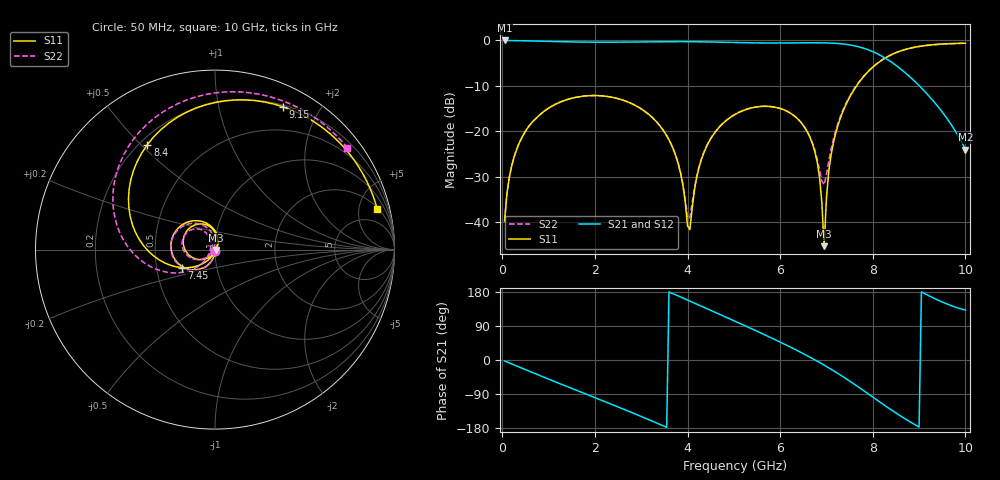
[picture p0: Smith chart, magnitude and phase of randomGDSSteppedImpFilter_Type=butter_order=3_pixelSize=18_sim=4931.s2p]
! freq	dB(S11)	phase(S11)	dB(S12)	phase(S12)
!  dB(S21)	phase(S21)	dB(S22)	phase(S22)
!S-par simulation data
#  GHz  S  DB  R 50
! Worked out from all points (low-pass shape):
!   200 points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, 50 MHz to 10 GHz, reference 50 ohm
!   highest |S21| = 0.00 dB at 50 MHz (marker M1); lowest = -24.0 dB at 10 GHz (marker M2)
!   |S21| within 3 dB of the highest: start of sweep to 8.112 GHz
!   lowest |S11| = -45.3 dB at 6.95 GHz (marker M3), VSWR 1.01, Z = 50.5 - j0.259 ohm
!   |S11| at or under -10 dB: start of sweep to 7.65 GHz
!   |S22| runs from -39.7 to -0.6 dB; largest |S21 - S12| = 0
!   S11 on the Smith chart (normalised r, x): 50 MHz: 1.00, -0.02; 7.45 GHz: 0.67, -0.14; 8.4 GHz: 0.23, +0.52; 9.15 GHz: 0.22, +1.56; 10 GHz: 2.22, +7.56
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0.05  -39.74 -92.4  -0.00 -2.6  -0.00 -2.6  -39.74 -92.3
0.2  -27.74 -100.5  -0.03 -10.3  -0.03 -10.3  -27.74 -100.2
0.5  -20.00 -116.4  -0.08 -25.5  -0.08 -25.5  -20.00 -115.5
1.75  -12.26 -179.6  -0.37 -87.2  -0.37 -87.2  -12.26 -176.3
2.55  -12.96 140.1  -0.37 -126.4  -0.37 -126.4  -12.97 145.9
3.4  -18.75 94.1  -0.27 -169.8  -0.27 -169.8  -18.76 106.1
3.8  -27.15 67.1  -0.25 169.0  -0.25 169.0  -27.12 93.3
4.05  -41.63 -51.6  -0.27 155.5  -0.27 155.5  -39.20 177.7
4.35  -24.79 -128.7  -0.31 139.3  -0.31 139.3  -24.65 -136.9
5.05  -16.15 -172.5  -0.46 100.9  -0.46 100.9  -16.11 -167.4
5.85  -14.63 139.5  -0.56 56.1  -0.56 56.1  -14.63 152.1
6.7  -22.81 81.2  -0.51 3.7  -0.51 3.7  -22.65 115.4
6.85  -30.04 64.9  -0.51 -6.5  -0.51 -6.5  -28.47 128.3
6.95  -45.29 -28.1  -0.53 -13.5  -0.53 -13.5  -31.76 177.9
7  -34.63 -99.8  -0.54 -17.1  -0.54 -17.1  -29.55 -155.0
7.1  -25.20 -119.0  -0.58 -24.4  -0.58 -24.4  -23.91 -135.1
7.45  -13.50 -151.7  -0.90 -51.4  -0.90 -51.4  -13.29 -144.4
7.85  -7.40 172.3  -1.87 -84.9  -1.87 -84.9  -7.33 -173.6
8.35  -3.40 127.1  -4.41 -127.6  -4.41 -127.6  -3.39 145.8
8.4  -3.15 122.7  -4.75 -131.7  -4.75 -131.7  -3.14 141.8
9.15  -1.10 64.5  -11.53 173.4  -11.53 173.4  -1.12 87.1
10  -0.61 13.9  -24.01 131.9  -24.01 131.9  -0.63 37.7
